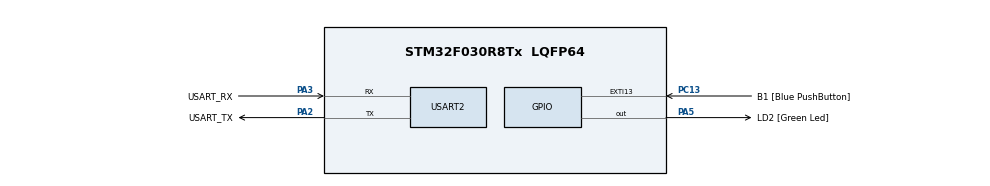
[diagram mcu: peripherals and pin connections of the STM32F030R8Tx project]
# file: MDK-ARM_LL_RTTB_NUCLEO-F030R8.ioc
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Mcu.Family=STM32F0
Mcu.Name=STM32F030R8Tx
Mcu.Package=LQFP64
PA13.GPIO_Label=TMS
PA13.Mode=Serial_Wire
PA13.Signal=SYS_SWDIO
PA14.GPIO_Label=TCK
PA14.Mode=Serial_Wire
PA14.Signal=SYS_SWCLK
PA2.GPIO_Label=USART_TX
PA2.GPIO_Mode=GPIO_MODE_AF_PP
PA2.GPIO_PuPd=GPIO_NOPULL
PA2.GPIO_Speed=GPIO_SPEED_FREQ_LOW
PA2.Mode=Asynchronous
PA2.Signal=USART2_TX
PA3.GPIO_Label=USART_RX
PA3.GPIO_Mode=GPIO_MODE_AF_PP
PA3.GPIO_PuPd=GPIO_NOPULL
PA3.GPIO_Speed=GPIO_SPEED_FREQ_LOW
PA3.Mode=Asynchronous
PA3.Signal=USART2_RX
PA5.GPIO_Label=LD2 [Green Led]
PA5.GPIO_Mode=GPIO_MODE_OUTPUT_PP
PA5.GPIO_PuPd=GPIO_NOPULL
PA5.GPIO_Speed=GPIO_SPEED_FREQ_LOW
PA5.Signal=GPIO_Output
PC13.GPIO_Label=B1 [Blue PushButton]
PC13.GPIO_ModeDefaultEXTI=GPIO_MODE_IT_FALLING
PC13.Signal=GPXTI13
PC14-OSC32_IN.Mode=LSE-External-Oscillator
PC14-OSC32_IN.Signal=RCC_OSC32_IN
PC15-OSC32_OUT.Mode=LSE-External-Oscillator
PC15-OSC32_OUT.Signal=RCC_OSC32_OUT
PF0-OSC_IN.Mode=HSE-External-Clock-Source
PF0-OSC_IN.Signal=RCC_OSC_IN
PF1-OSC_OUT.Signal=RCC_OSC_OUT
ProjectManager.HeapSize=0x200
ProjectManager.StackSize=0x400
ProjectManager.TargetToolchain=MDK-ARM V5.27
RCC.AHBFreq_Value=48000000
RCC.APB1Freq_Value=48000000
RCC.APB1TimFreq_Value=48000000
RCC.HCLKFreq_Value=48000000
RCC.PLLMUL=RCC_PLL_MUL12
RCC.SYSCLKFreq_VALUE=48000000
RCC.SYSCLKSource=RCC_SYSCLKSOURCE_PLLCLK
USART2.VirtualMode-Asynchronous=VM_ASYNC
board=NUCLEO-F030R8

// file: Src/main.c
/* USER CODE BEGIN Header */
/**
  ******************************************************************************
  * @file           : main.c
  * @brief          : Main program body
  ******************************************************************************
  * @attention
  *
  * <h2><center>&copy; Copyright (c) 2020 STMicroelectronics.
  * All rights reserved.</center></h2>
  *
  * This software component is licensed by ST under BSD 3-Clause license,
  * the "License"; You may not use this file except in compliance with the
  * License. You may obtain a copy of the License at:
  *                        opensource.org/licenses/BSD-3-Clause
  *
  ******************************************************************************
  */
/* USER CODE END Header */

#include "main.h"

/* USER CODE BEGIN Includes */
#include "SEGGER_RTT.h"
#include "SEGGER_RTT_Conf.h"
#include "string.h"
#include "trice.h"
/* USER CODE END Includes */

void SystemClock_Config(void);
static void MX_GPIO_Init(void);
static void MX_USART2_UART_Init(void);

int main(void)
{

  /* MCU Configuration--------------------------------------------------------*/

  /* Reset of all peripherals, Initializes the Flash interface and the Systick. */

  LL_APB1_GRP2_EnableClock(LL_APB1_GRP2_PERIPH_SYSCFG);
  LL_APB1_GRP1_EnableClock(LL_APB1_GRP1_PERIPH_PWR);

  /* System interrupt init*/

  /* Configure the system clock */
  SystemClock_Config();

  /* USER CODE BEGIN SysInit */
    SysTick->CTRL |= SysTick_CTRL_TICKINT_Msk; // enable SysTick interrupt
  /* USER CODE END SysInit */

  /* Initialize all configured peripherals */
  MX_GPIO_Init();
  MX_USART2_UART_Init();

  /* Infinite loop */
  /* USER CODE BEGIN WHILE */
    TRICE16_1( Id(51446), "TIM:timing      message, SysTick is %6d\n", SYSTICKVAL16 );
    TRICE0( Id(12568), "att:MDK-ARM_LL_RTTB_NUCLEO-F030R8\n" );
    TRICE16_1( Id(30476), "TIM:timing      message, SysTick is %6d\n", SYSTICKVAL16 );
    TRICE16_1( Id(46246), "TIM:timing      message, SysTick is %6d\n", SYSTICKVAL16 );
    TRICE16_1( Id(58152), "TIM:timing      message, SysTick is %6d\n", SYSTICKVAL16 );
    TRICE16_1( Id(16264), "TIM:timing      message, SysTick is %6d\n", SYSTICKVAL16 );
    SEGGER_RTT_GetAvailWriteSpace(0);
    char* s = "Hi5!\n";
    SEGGER_RTT_Write(0, s, strlen(s));
    while (1)
    {
      //////////////////////////////////////////////////
      // demo trices
      //
      static uint32_t ms_1 = 0;
      extern uint32_t ms;
      if( ms >= ms_1 + 1000 ){ // every sec
          static int index = 0;
          triceCheckSet(index++%20);
          TRICE32_1( Id(64958), "time:ms = %d\n", ms );
          LL_GPIO_TogglePin(LD2_GPIO_Port, LD2_Pin);
          ms_1 = ms;
      }
      //
      //////////////////////////////////////////////////

      //////////////////////////////////////////////////
      // needed background activity
      //
        #ifdef LL_INTERFACE_NO_INTERRUPTS
        triceServe();
        #endif
      //
      //////////////////////////////////////////////////
    /* USER CODE END WHILE */

  }
}

void SystemClock_Config(void)
{
  LL_FLASH_SetLatency(LL_FLASH_LATENCY_1);

  if(LL_FLASH_GetLatency() != LL_FLASH_LATENCY_1)
  {
  Error_Handler();
  }
  LL_RCC_HSI_Enable();

   /* Wait till HSI is ready */
  while(LL_RCC_HSI_IsReady() != 1)
  {

  }
  LL_RCC_HSI_SetCalibTrimming(16);
  LL_RCC_PLL_ConfigDomain_SYS(LL_RCC_PLLSOURCE_HSI_DIV_2, LL_RCC_PLL_MUL_12);
  LL_RCC_PLL_Enable();

   /* Wait till PLL is ready */
  while(LL_RCC_PLL_IsReady() != 1)
  {

  }
  LL_RCC_SetAHBPrescaler(LL_RCC_SYSCLK_DIV_1);
  LL_RCC_SetAPB1Prescaler(LL_RCC_APB1_DIV_1);
  LL_RCC_SetSysClkSource(LL_RCC_SYS_CLKSOURCE_PLL);

   /* Wait till System clock is ready */
  while(LL_RCC_GetSysClkSource() != LL_RCC_SYS_CLKSOURCE_STATUS_PLL)
  {

  }
  LL_Init1msTick(48000000);
  LL_SetSystemCoreClock(48000000);
}

static void MX_USART2_UART_Init(void)
{

  LL_USART_InitTypeDef USART_InitStruct = {0};

  LL_GPIO_InitTypeDef GPIO_InitStruct = {0};

  /* Peripheral clock enable */
  LL_APB1_GRP1_EnableClock(LL_APB1_GRP1_PERIPH_USART2);

  LL_AHB1_GRP1_EnableClock(LL_AHB1_GRP1_PERIPH_GPIOA);
  /**USART2 GPIO Configuration
  PA2   ------> USART2_TX
  PA3   ------> USART2_RX
  */
  GPIO_InitStruct.Pin = USART_TX_Pin;
  GPIO_InitStruct.Mode = LL_GPIO_MODE_ALTERNATE;
  GPIO_InitStruct.Speed = LL_GPIO_SPEED_FREQ_LOW;
  GPIO_InitStruct.OutputType = LL_GPIO_OUTPUT_PUSHPULL;
  GPIO_InitStruct.Pull = LL_GPIO_PULL_NO;
  GPIO_InitStruct.Alternate = LL_GPIO_AF_1;
  LL_GPIO_Init(USART_TX_GPIO_Port, &GPIO_InitStruct);

  GPIO_InitStruct.Pin = USART_RX_Pin;
  GPIO_InitStruct.Mode = LL_GPIO_MODE_ALTERNATE;
  GPIO_InitStruct.Speed = LL_GPIO_SPEED_FREQ_LOW;
  GPIO_InitStruct.OutputType = LL_GPIO_OUTPUT_PUSHPULL;
  GPIO_InitStruct.Pull = LL_GPIO_PULL_NO;
  GPIO_InitStruct.Alternate = LL_GPIO_AF_1;
  LL_GPIO_Init(USART_RX_GPIO_Port, &GPIO_InitStruct);

  USART_InitStruct.BaudRate = 38400;
  USART_InitStruct.DataWidth = LL_USART_DATAWIDTH_8B;
  USART_InitStruct.StopBits = LL_USART_STOPBITS_1;
  USART_InitStruct.Parity = LL_USART_PARITY_NONE;
  USART_InitStruct.TransferDirection = LL_USART_DIRECTION_TX_RX;
  USART_InitStruct.HardwareFlowControl = LL_USART_HWCONTROL_NONE;
  USART_InitStruct.OverSampling = LL_USART_OVERSAMPLING_16;
  LL_USART_Init(USART2, &USART_InitStruct);
  LL_USART_DisableIT_CTS(USART2);
  LL_USART_ConfigAsyncMode(USART2);
  LL_USART_Enable(USART2);

}

static void MX_GPIO_Init(void)
{
  LL_EXTI_InitTypeDef EXTI_InitStruct = {0};
  LL_GPIO_InitTypeDef GPIO_InitStruct = {0};

  /* GPIO Ports Clock Enable */
  LL_AHB1_GRP1_EnableClock(LL_AHB1_GRP1_PERIPH_GPIOC);
  LL_AHB1_GRP1_EnableClock(LL_AHB1_GRP1_PERIPH_GPIOF);
  LL_AHB1_GRP1_EnableClock(LL_AHB1_GRP1_PERIPH_GPIOA);

  /**/
  LL_GPIO_ResetOutputPin(LD2_GPIO_Port, LD2_Pin);

  /**/
  LL_SYSCFG_SetEXTISource(LL_SYSCFG_EXTI_PORTC, LL_SYSCFG_EXTI_LINE13);

  /**/
  LL_GPIO_SetPinPull(B1_GPIO_Port, B1_Pin, LL_GPIO_PULL_NO);

  /**/
  LL_GPIO_SetPinMode(B1_GPIO_Port, B1_Pin, LL_GPIO_MODE_INPUT);

  /**/
  EXTI_InitStruct.Line_0_31 = LL_EXTI_LINE_13;
  EXTI_InitStruct.LineCommand = ENABLE;
  EXTI_InitStruct.Mode = LL_EXTI_MODE_IT;
  EXTI_InitStruct.Trigger = LL_EXTI_TRIGGER_FALLING;
  LL_EXTI_Init(&EXTI_InitStruct);

  /**/
  GPIO_InitStruct.Pin = LD2_Pin;
  GPIO_InitStruct.Mode = LL_GPIO_MODE_OUTPUT;
  GPIO_InitStruct.Speed = LL_GPIO_SPEED_FREQ_LOW;
  GPIO_InitStruct.OutputType = LL_GPIO_OUTPUT_PUSHPULL;
  GPIO_InitStruct.Pull = LL_GPIO_PULL_NO;
  LL_GPIO_Init(LD2_GPIO_Port, &GPIO_InitStruct);

}

void Error_Handler(void)
{
}

/************************ (C) COPYRIGHT STMicroelectronics *****END OF FILE****/
